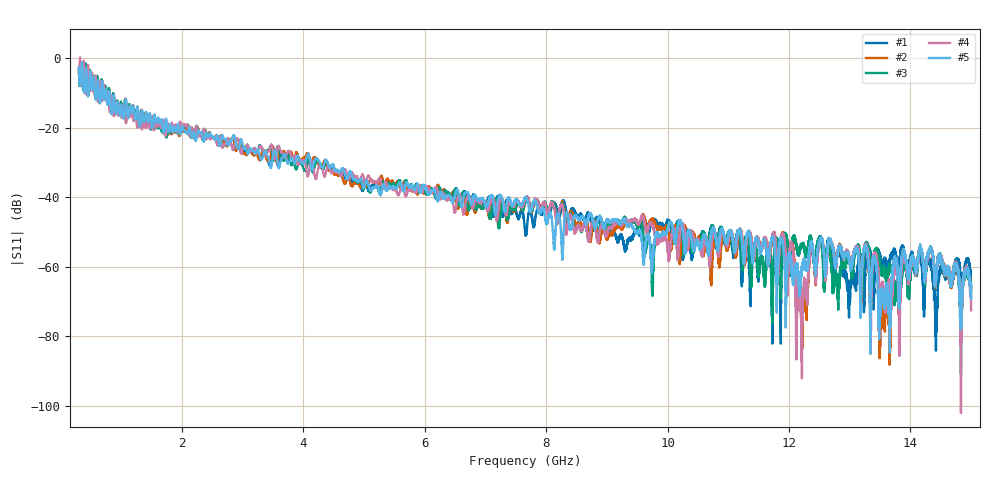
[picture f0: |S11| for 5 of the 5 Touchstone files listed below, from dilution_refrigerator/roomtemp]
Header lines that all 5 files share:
# GHZ S RI R 50.0
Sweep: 300 MHz to 15 GHz
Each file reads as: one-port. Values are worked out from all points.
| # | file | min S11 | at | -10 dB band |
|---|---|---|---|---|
| 1 | port1_roomtemp.s1p | -84.2 dB | 14.42 GHz | over 14.19 GHz wide |
| 2 | port2_roomtemp_repeat.s1p | -88.2 dB | 13.66 GHz | over 14.19 GHz wide |
| 3 | port4_roomtemp.s1p | -91.2 dB | 14.83 GHz | over 14.14 GHz wide |
| 4 | port5_roomtemp.s1p | -102.2 dB | 14.83 GHz | over 14.22 GHz wide |
| 5 | port6_roomtemp_repeat.s1p | -85.1 dB | 13.34 GHz | over 14.19 GHz wide |
